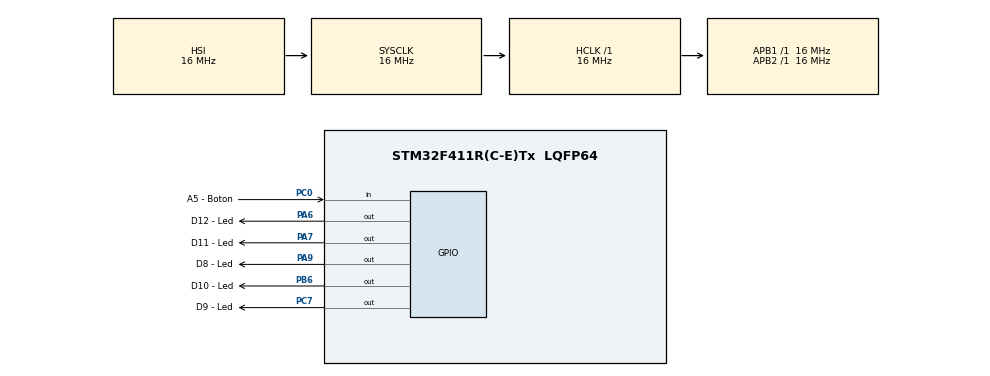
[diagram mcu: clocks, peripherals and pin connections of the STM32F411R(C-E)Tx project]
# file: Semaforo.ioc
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Mcu.Family=STM32F4
Mcu.Name=STM32F411R(C-E)Tx
Mcu.Package=LQFP64
NVIC.PriorityGroup=NVIC_PRIORITYGROUP_4
PA6.GPIO_Label=D12 - Led
PA6.Signal=GPIO_Output
PA7.GPIO_Label=D11 - Led
PA7.Signal=GPIO_Output
PA9.GPIO_Label=D8 - Led
PA9.Signal=GPIO_Output
PB6.GPIO_Label=D10 - Led
PB6.Signal=GPIO_Output
PC0.GPIO_Label=A5 - Boton
PC0.Signal=GPIO_Input
PC7.GPIO_Label=D9 - Led
PC7.Signal=GPIO_Output
ProjectManager.HeapSize=0x200
ProjectManager.StackSize=0x400
ProjectManager.TargetToolchain=Makefile
RCC.AHBFreq_Value=16000000
RCC.APB1Freq_Value=16000000
RCC.APB2Freq_Value=16000000
RCC.CortexFreq_Value=16000000
RCC.HSE_VALUE=25000000
RCC.HSI_VALUE=16000000
RCC.LSE_VALUE=32768
RCC.SYSCLKFreq_VALUE=16000000
RCC.VCOOutputFreq_Value=192000000
board=custom

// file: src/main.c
/* USER CODE BEGIN Header */
/**
******************************************************************************
* @file           : main.c
* @brief          : Main program body
******************************************************************************
* @attention
*
* <h2><center>&copy; Copyright (c) 2019 STMicroelectronics.
* All rights reserved.</center></h2>
*
* This software component is licensed by ST under BSD 3-Clause license,
* the "License"; You may not use this file except in compliance with the
* License. You may obtain a copy of the License at:
*                        opensource.org/licenses/BSD-3-Clause
*
******************************************************************************
*/
/* USER CODE END Header */

#include "main.h"

void SystemClock_Config(void);
static void MX_GPIO_Init(void);

int main(void)
{
	int counter_parpadeo = 0;
	int modo = 0;
	//int mask = 0b0;

	/* MCU Configuration--------------------------------------------------------*/

	/* Reset of all peripherals, Initializes the Flash interface and the Systick. */
	HAL_Init();

	/* Configure the system clock */
	SystemClock_Config();

	/* Initialize all configured peripherals */
	MX_GPIO_Init();

	/* Infinite loop */
	/* USER CODE BEGIN WHILE */

	while (1)
	{
		switch (modo) {
			default:
			HAL_GPIO_WritePin(D10___Led_GPIO_Port, D10___Led_Pin, GPIO_PIN_SET); //Verde Coches
			HAL_GPIO_WritePin(D11___Led_GPIO_Port, D11___Led_Pin, GPIO_PIN_SET); //Rojo Peatones
			if(GPIOA->IDR&GPIO_IDR_ID0_Msk){
				modo = 1;
			}
			break;
			case 1:
			counter_parpadeo = 0;
			HAL_Delay(3000);
			HAL_GPIO_WritePin(D10___Led_GPIO_Port, D10___Led_Pin, GPIO_PIN_RESET); // Apagamos verde coches
			HAL_GPIO_WritePin(D9___Led_GPIO_Port, D9___Led_Pin, GPIO_PIN_SET); //Encendemos amarillo coches
			HAL_Delay(3000);
			modo = 2;
			break;
			case 2:
			HAL_GPIO_WritePin(D9___Led_GPIO_Port, D9___Led_Pin, GPIO_PIN_RESET); //Apagar amarillo coches
			HAL_GPIO_WritePin(D8___Led_GPIO_Port, D8___Led_Pin, GPIO_PIN_SET); //Encendemos rojo coches
			HAL_GPIO_WritePin(D11___Led_GPIO_Port, D11___Led_Pin, GPIO_PIN_RESET); //Apagamos rojo peatones
			HAL_GPIO_WritePin(D12___Led_GPIO_Port, D12___Led_Pin, GPIO_PIN_SET); //Encendemos verde peatones
			HAL_Delay(15000);
			modo = 3;
			break;
			case 3:
			while(counter_parpadeo<15){
				HAL_GPIO_WritePin(D12___Led_GPIO_Port, D12___Led_Pin, GPIO_PIN_RESET); //Apagar verde peatones
				HAL_Delay(100);
				HAL_GPIO_WritePin(D12___Led_GPIO_Port, D12___Led_Pin, GPIO_PIN_SET); //Encendemos verde peatones
				HAL_Delay(100);
				counter_parpadeo++;
			}
			modo = 4;
			break;
			case 4:
			HAL_GPIO_WritePin(D12___Led_GPIO_Port, D12___Led_Pin, GPIO_PIN_RESET); //Apagar verde peatones
			HAL_GPIO_WritePin(D8___Led_GPIO_Port, D8___Led_Pin, GPIO_PIN_RESET); //Apagar rojo coches
			HAL_GPIO_WritePin(D10___Led_GPIO_Port, D10___Led_Pin, GPIO_PIN_SET); //Verde Coches
			HAL_GPIO_WritePin(D11___Led_GPIO_Port, D11___Led_Pin, GPIO_PIN_SET);//Rojo Peatones
			modo = 0;
			break;
		}

		/* USER CODE END WHILE */

	}
}

void SystemClock_Config(void)
{
	RCC_OscInitTypeDef RCC_OscInitStruct = {0};
	RCC_ClkInitTypeDef RCC_ClkInitStruct = {0};

	/** Configure the main internal regulator output voltage
	*/
	__HAL_RCC_PWR_CLK_ENABLE();
	__HAL_PWR_VOLTAGESCALING_CONFIG(PWR_REGULATOR_VOLTAGE_SCALE1);
	/** Initializes the CPU, AHB and APB busses clocks
	*/
	RCC_OscInitStruct.OscillatorType = RCC_OSCILLATORTYPE_HSI;
	RCC_OscInitStruct.HSIState = RCC_HSI_ON;
	RCC_OscInitStruct.HSICalibrationValue = RCC_HSICALIBRATION_DEFAULT;
	RCC_OscInitStruct.PLL.PLLState = RCC_PLL_NONE;
	if (HAL_RCC_OscConfig(&RCC_OscInitStruct) != HAL_OK)
	{
		Error_Handler();
	}
	/** Initializes the CPU, AHB and APB busses clocks
	*/
	RCC_ClkInitStruct.ClockType = RCC_CLOCKTYPE_HCLK|RCC_CLOCKTYPE_SYSCLK
	|RCC_CLOCKTYPE_PCLK1|RCC_CLOCKTYPE_PCLK2;
	RCC_ClkInitStruct.SYSCLKSource = RCC_SYSCLKSOURCE_HSI;
	RCC_ClkInitStruct.AHBCLKDivider = RCC_SYSCLK_DIV1;
	RCC_ClkInitStruct.APB1CLKDivider = RCC_HCLK_DIV1;
	RCC_ClkInitStruct.APB2CLKDivider = RCC_HCLK_DIV1;

	if (HAL_RCC_ClockConfig(&RCC_ClkInitStruct, FLASH_LATENCY_0) != HAL_OK)
	{
		Error_Handler();
	}
}

static void MX_GPIO_Init(void)
{
	GPIO_InitTypeDef GPIO_InitStruct = {0};

	/* GPIO Ports Clock Enable */
	__HAL_RCC_GPIOC_CLK_ENABLE();
	__HAL_RCC_GPIOA_CLK_ENABLE();
	__HAL_RCC_GPIOB_CLK_ENABLE();

	/*Configure GPIO pin Output Level */
	HAL_GPIO_WritePin(GPIOA, D12___Led_Pin|D11___Led_Pin|D8___Led_Pin, GPIO_PIN_RESET);

	/*Configure GPIO pin Output Level */
	HAL_GPIO_WritePin(D9___Led_GPIO_Port, D9___Led_Pin, GPIO_PIN_RESET);

	/*Configure GPIO pin Output Level */
	HAL_GPIO_WritePin(D10___Led_GPIO_Port, D10___Led_Pin, GPIO_PIN_RESET);

	/*Configure GPIO pin : A5___Boton_Pin */
	GPIO_InitStruct.Pin = A5___Boton_Pin;
	GPIO_InitStruct.Mode = GPIO_MODE_INPUT;
	GPIO_InitStruct.Pull = GPIO_NOPULL;
	HAL_GPIO_Init(A5___Boton_GPIO_Port, &GPIO_InitStruct);

	/*Configure GPIO pins : D12___Led_Pin D11___Led_Pin D8___Led_Pin */
	GPIO_InitStruct.Pin = D12___Led_Pin|D11___Led_Pin|D8___Led_Pin;
	GPIO_InitStruct.Mode = GPIO_MODE_OUTPUT_PP;
	GPIO_InitStruct.Pull = GPIO_NOPULL;
	GPIO_InitStruct.Speed = GPIO_SPEED_FREQ_LOW;
	HAL_GPIO_Init(GPIOA, &GPIO_InitStruct);

	/*Configure GPIO pin : D9___Led_Pin */
	GPIO_InitStruct.Pin = D9___Led_Pin;
	GPIO_InitStruct.Mode = GPIO_MODE_OUTPUT_PP;
	GPIO_InitStruct.Pull = GPIO_NOPULL;
	GPIO_InitStruct.Speed = GPIO_SPEED_FREQ_LOW;
	HAL_GPIO_Init(D9___Led_GPIO_Port, &GPIO_InitStruct);

	/*Configure GPIO pin : D10___Led_Pin */
	GPIO_InitStruct.Pin = D10___Led_Pin;
	GPIO_InitStruct.Mode = GPIO_MODE_OUTPUT_PP;
	GPIO_InitStruct.Pull = GPIO_NOPULL;
	GPIO_InitStruct.Speed = GPIO_SPEED_FREQ_LOW;
	HAL_GPIO_Init(D10___Led_GPIO_Port, &GPIO_InitStruct);

}

void Error_Handler(void)
{
}

/************************ (C) COPYRIGHT STMicroelectronics *****END OF FILE****/
